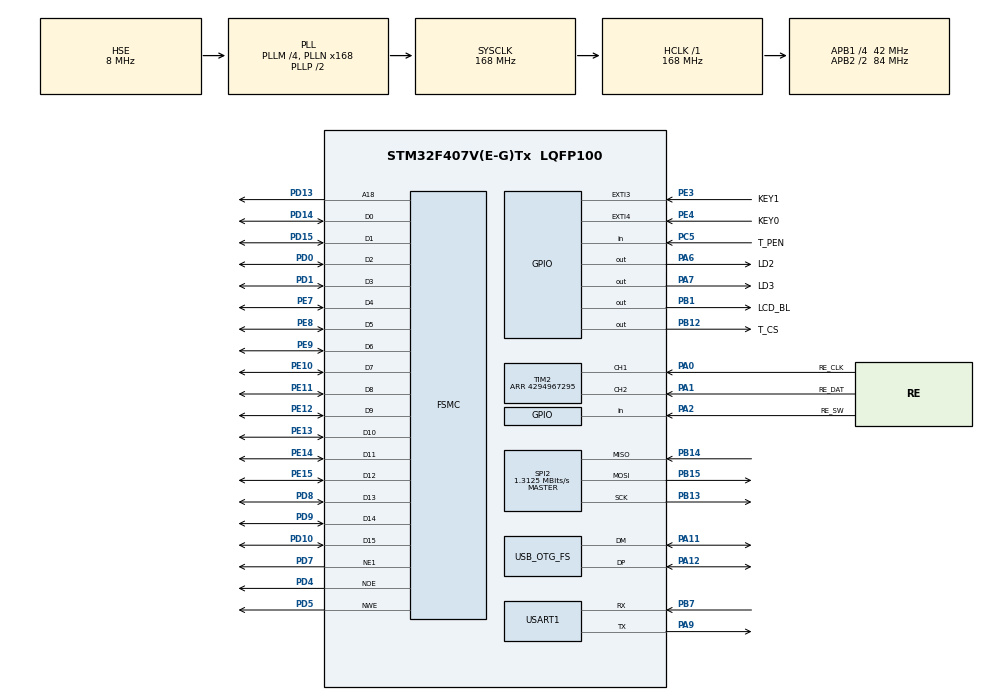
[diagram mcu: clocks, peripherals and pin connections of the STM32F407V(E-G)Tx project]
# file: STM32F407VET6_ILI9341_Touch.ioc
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FSMC.AddressSetupTime1=1
FSMC.BusTurnAroundDuration1=0
FSMC.DataSetupTime1=5
FSMC.ExtendedMode1=FSMC_EXTENDED_MODE_DISABLE
Mcu.Family=STM32F4
Mcu.Name=STM32F407V(E-G)Tx
Mcu.Package=LQFP100
NVIC.EXTI3_IRQn=true\:0\:0\:false\:false\:true\:true\:true\:true
NVIC.EXTI4_IRQn=true\:0\:0\:false\:false\:true\:true\:true\:true
NVIC.OTG_FS_IRQn=true\:0\:0\:false\:false\:true\:false\:true\:true
NVIC.PriorityGroup=NVIC_PRIORITYGROUP_4
NVIC.TIM2_IRQn=true\:0\:0\:false\:false\:true\:true\:true\:true
NVIC.TIM7_IRQn=true\:0\:0\:false\:false\:true\:true\:true\:true
PA0-WKUP.GPIO_Label=RE_CLK
PA0-WKUP.Signal=S_TIM2_CH1_ETR
PA1.GPIO_Label=RE_DAT
PA1.Signal=S_TIM2_CH2
PA11.Mode=Device_Only
PA11.Signal=USB_OTG_FS_DM
PA12.Mode=Device_Only
PA12.Signal=USB_OTG_FS_DP
PA13.Mode=Serial_Wire
PA13.Signal=SYS_JTMS-SWDIO
PA14.Mode=Serial_Wire
PA14.Signal=SYS_JTCK-SWCLK
PA2.GPIO_Label=RE_SW
PA2.Signal=GPIO_Input
PA6.GPIO_Label=LD2
PA6.PinState=GPIO_PIN_SET
PA6.Signal=GPIO_Output
PA7.GPIO_Label=LD3
PA7.PinState=GPIO_PIN_SET
PA7.Signal=GPIO_Output
PA9.Mode=Asynchronous
PA9.Signal=USART1_TX
PB1.GPIO_Label=LCD_BL
PB1.Signal=GPIO_Output
PB12.GPIO_Label=T_CS
PB12.GPIO_PuPd=GPIO_PULLUP
PB12.PinState=GPIO_PIN_SET
PB12.Signal=GPIO_Output
PB13.Mode=Full_Duplex_Master
PB13.Signal=SPI2_SCK
PB14.Mode=Full_Duplex_Master
PB14.Signal=SPI2_MISO
PB15.Mode=Full_Duplex_Master
PB15.Signal=SPI2_MOSI
PB7.Mode=Asynchronous
PB7.Signal=USART1_RX
PC14-OSC32_IN.Mode=LSE-External-Oscillator
PC14-OSC32_IN.Signal=RCC_OSC32_IN
PC15-OSC32_OUT.Mode=LSE-External-Oscillator
PC15-OSC32_OUT.Signal=RCC_OSC32_OUT
PC5.GPIO_Label=T_PEN
PC5.GPIO_PuPd=GPIO_PULLUP
PC5.Signal=GPIO_Input
PD0.Mode=16b-d1
PD0.Signal=FSMC_D2
PD1.Mode=16b-d1
PD1.Signal=FSMC_D3
PD10.Mode=16b-d1
PD10.Signal=FSMC_D15
PD13.Mode=A18_1
PD13.Signal=FSMC_A18
PD14.Mode=16b-d1
PD14.Signal=FSMC_D0
PD15.Mode=16b-d1
PD15.Signal=FSMC_D1
PD4.Mode=Lcd1
PD4.Signal=FSMC_NOE
PD5.Mode=Lcd1
PD5.Signal=FSMC_NWE
PD7.Mode=NorPsramChipSelect1_1
PD7.Signal=FSMC_NE1
PD8.Mode=16b-d1
PD8.Signal=FSMC_D13
PD9.Mode=16b-d1
PD9.Signal=FSMC_D14
PE10.Mode=16b-d1
PE10.Signal=FSMC_D7
PE11.Mode=16b-d1
PE11.Signal=FSMC_D8
PE12.Mode=16b-d1
PE12.Signal=FSMC_D9
PE13.Mode=16b-d1
PE13.Signal=FSMC_D10
PE14.Mode=16b-d1
PE14.Signal=FSMC_D11
PE15.Mode=16b-d1
PE15.Signal=FSMC_D12
PE3.GPIO_Label=KEY1
PE3.GPIO_ModeDefaultEXTI=GPIO_MODE_IT_FALLING
PE3.GPIO_PuPd=GPIO_PULLUP
PE3.Signal=GPXTI3
PE4.GPIO_Label=KEY0
PE4.GPIO_ModeDefaultEXTI=GPIO_MODE_IT_FALLING
PE4.GPIO_PuPd=GPIO_PULLUP
PE4.Signal=GPXTI4
PE7.Mode=16b-d1
PE7.Signal=FSMC_D4
PE8.Mode=16b-d1
PE8.Signal=FSMC_D5
PE9.Mode=16b-d1
PE9.Signal=FSMC_D6
PH0-OSC_IN.Mode=HSE-External-Oscillator
PH0-OSC_IN.Signal=RCC_OSC_IN
PH1-OSC_OUT.Mode=HSE-External-Oscillator
PH1-OSC_OUT.Signal=RCC_OSC_OUT
ProjectManager.HeapSize=0x200
ProjectManager.StackSize=0x400
ProjectManager.TargetToolchain=STM32CubeIDE
RCC.48MHZClocksFreq_Value=48000000
RCC.AHBFreq_Value=168000000
RCC.APB1CLKDivider=RCC_HCLK_DIV4
RCC.APB1Freq_Value=42000000
RCC.APB1TimFreq_Value=84000000
RCC.APB2CLKDivider=RCC_HCLK_DIV2
RCC.APB2Freq_Value=84000000
RCC.APB2TimFreq_Value=168000000
RCC.CortexFreq_Value=21000000
RCC.Cortex_Div=SYSTICK_CLKSOURCE_HCLK_DIV8
RCC.HCLKFreq_Value=168000000
RCC.HSE_VALUE=8000000
RCC.HSI_VALUE=16000000
RCC.PLLM=4
RCC.PLLN=168
RCC.PLLQ=7
RCC.RCC_RTC_Clock_Source=RCC_RTCCLKSOURCE_LSE
RCC.RCC_RTC_Clock_SourceVirtual=RCC_RTCCLKSOURCE_LSE
RCC.SYSCLKFreq_VALUE=168000000
RCC.SYSCLKSource=RCC_SYSCLKSOURCE_PLLCLK
RCC.VCOOutputFreq_Value=336000000
SH.S_TIM2_CH1_ETR.0=TIM2_CH1,Encoder_Interface
SH.S_TIM2_CH2.0=TIM2_CH2,Encoder_Interface
SPI2.BaudRatePrescaler=SPI_BAUDRATEPRESCALER_32
SPI2.CalculateBaudRate=1.3125 MBits/s
SPI2.Direction=SPI_DIRECTION_2LINES
SPI2.Mode=SPI_MODE_MASTER
SPI2.VirtualType=VM_MASTER
STMicroelectronics.X-CUBE-TOUCHGFX.4.22.1.ApplicationCcGraphicsJjApplication=TouchGFXOoGenerator
STMicroelectronics.X-CUBE-TOUCHGFX.4.22.1.tgfx_block_size=1920
STMicroelectronics.X-CUBE-TOUCHGFX.4.22.1.tgfx_buffering_strategy=Partial
STMicroelectronics.X-CUBE-TOUCHGFX.4.22.1.tgfx_custom_height=320
STMicroelectronics.X-CUBE-TOUCHGFX.4.22.1.tgfx_custom_width=240
STMicroelectronics.X-CUBE-TOUCHGFX.4.22.1.tgfx_display_interface=disp_fmc
STMicroelectronics.X-CUBE-TOUCHGFX.4.22.1.tgfx_number_of_blocks=5
STMicroelectronics.X-CUBE-TOUCHGFX.4.22.1_IsPackSelfContextualization=true
TIM2.ClockDivision=TIM_CLOCKDIVISION_DIV1
TIM2.EncoderMode=TIM_ENCODERMODE_TI12
TIM2.IC1Polarity=TIM_ICPOLARITY_RISING
TIM2.IC1Prescaler=TIM_ICPSC_DIV1
TIM2.IC2Polarity=TIM_ICPOLARITY_RISING
TIM2.IC2Prescaler=TIM_ICPSC_DIV1
TIM2.Period=4294967295
TIM7.Period=29999
TIM7.Prescaler=83
USART1.VirtualMode=VM_ASYNC
USB_DEVICE.APP_RX_DATA_SIZE-CDC_FS=512
USB_DEVICE.APP_TX_DATA_SIZE-CDC_FS=512
USB_DEVICE.CLASS_NAME_FS=CDC
USB_DEVICE.VirtualMode-CDC_FS=Cdc
USB_DEVICE.VirtualModeFS=Cdc_FS
USB_OTG_FS.VirtualMode=Device_Only
VP_CRC_VS_CRC.Mode=CRC_Activate
VP_STMicroelectronics.X-CUBE-TOUCHGFX_VS_GraphicsJjApplication_4.22.1.Mode=GraphicsJjApplication
VP_TIM7_VS_ClockSourceINT.Mode=Enable_Timer
VP_USB_DEVICE_VS_USB_DEVICE_CDC_FS.Mode=CDC_FS
board=custom

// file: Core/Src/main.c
/* USER CODE BEGIN Header */
/**
  ******************************************************************************
  * @file           : main.c
  * @brief          : Main program body
  ******************************************************************************
  * @attention
  *
  * Copyright (c) 2023 STMicroelectronics.
  * All rights reserved.
  *
  * This software is licensed under terms that can be found in the LICENSE file
  * in the root directory of this software component.
  * If no LICENSE file comes with this software, it is provided AS-IS.
  *
  ******************************************************************************
  */
/* USER CODE END Header */
#include "main.h"
#include "crc.h"
#include "spi.h"
#include "tim.h"
#include "usart.h"
#include "usb_device.h"
#include "gpio.h"
#include "fsmc.h"
#include "app_touchgfx.h"

/* USER CODE BEGIN Includes */
#include <stdio.h>
#include "ili9341_simple.h"
#include "TouchGFX_DataTransfer.h"
#include "usbd_cdc_if.h"
/* USER CODE END Includes */

/* USER CODE BEGIN PTD */
extern uint8_t CDC_Transmit_FS(uint8_t* Buf, uint16_t Len);
/* USER CODE END PTD */

/* USER CODE BEGIN PV */
uint8_t flagOnePerSecond = 0;
__IO uint8_t userButtonState = 255;
/* USER CODE END PV */

void SystemClock_Config(void);
/* USER CODE BEGIN PFP */
//RTC_TimeTypeDef /*ShowRTC_Calendar*/(void);
void SetTime(uint8_t hours, uint8_t minutes, uint8_t seconds);

uint8_t usb_print(char * buff, uint16_t len);

/* USER CODE END PFP */

/* USER CODE BEGIN 0 */

uint32_t tim2_cnt=0;
volatile uint32_t fut=0;
void HAL_TIM_IC_CaptureCallback(TIM_HandleTypeDef *htim)
{

	if (htim->Instance == TIM2)
	{
//		HAL_GPIO_TogglePin(LD3_GPIO_Port, LD3_Pin);
		fut++;

	}

//	tim2_cnt=__HAL_TIM_GET_COUNTER(htim);
//	HAL_GPIO_TogglePin(LD3_GPIO_Port, LD3_Pin);
//	tim2_cnt=htim2.Instance->CNT;
}

int _write(int file, char *ptr, int len)
{

	HAL_UART_Transmit(&huart1, (uint8_t *) ptr, len, HAL_MAX_DELAY);
//	CDC_Transmit_FS((uint8_t *) ptr, len);

	return len;
}
/* USER CODE END 0 */

int main(void)
{

  /* MCU Configuration--------------------------------------------------------*/

  /* Reset of all peripherals, Initializes the Flash interface and the Systick. */
  HAL_Init();

  /* Configure the system clock */
  SystemClock_Config();

  /* Initialize all configured peripherals */
  MX_GPIO_Init();
  MX_FSMC_Init();
  MX_USART1_UART_Init();
  MX_CRC_Init();
  MX_TIM7_Init();
  MX_SPI2_Init();
  MX_TIM2_Init();
  MX_USB_DEVICE_Init();
  MX_TouchGFX_Init();
  /* USER CODE BEGIN 2 */

  HAL_TIM_Encoder_Start(&htim2, TIM_CHANNEL_ALL);

  //HAL_Delay(20000);
//  printf("\x1b[2J\x1b[;H");
//  printf("*-------------------------*\r\n");
//  printf("* Touch GFX! *\r\n");
//  printf("*-------------------------*\r\n");
  HAL_TIM_Base_Start_IT(&htim7);
  lcdBacklightOn();
  lcdInit();
  htim2.Instance->CNT=0;

  uint8_t futai[13];
//    CDC_Transmit_FS(futai, 13u);
//    usb_print(futai,13);
  /* USER CODE END 2 */

  /* Infinite loop */
  /* USER CODE BEGIN WHILE */
    static uint16_t tick=0;
  while (1)
  {
//	  tim2_cnt=__HAL_TIM_GET_COUNTER(&htim2);
	  tim2_cnt=htim2.Instance->CNT/4;

	  if (tick++ >= 1000 )
	  	{
//		  usb_print(futai,13);
		  sprintf(futai, "%d\n\r", tick);
//		  CDC_Transmit_FS(futai, 13u);
		  tick=0;
	  	}

    /* USER CODE END WHILE */

  MX_TouchGFX_Process();
  }
}

void SystemClock_Config(void)
{
  RCC_OscInitTypeDef RCC_OscInitStruct = {0};
  RCC_ClkInitTypeDef RCC_ClkInitStruct = {0};

  /** Configure the main internal regulator output voltage
  */
  __HAL_RCC_PWR_CLK_ENABLE();
  __HAL_PWR_VOLTAGESCALING_CONFIG(PWR_REGULATOR_VOLTAGE_SCALE1);

  /** Initializes the RCC Oscillators according to the specified parameters
  * in the RCC_OscInitTypeDef structure.
  */
  RCC_OscInitStruct.OscillatorType = RCC_OSCILLATORTYPE_HSE;
  RCC_OscInitStruct.HSEState = RCC_HSE_ON;
  RCC_OscInitStruct.PLL.PLLState = RCC_PLL_ON;
  RCC_OscInitStruct.PLL.PLLSource = RCC_PLLSOURCE_HSE;
  RCC_OscInitStruct.PLL.PLLM = 4;
  RCC_OscInitStruct.PLL.PLLN = 168;
  RCC_OscInitStruct.PLL.PLLP = RCC_PLLP_DIV2;
  RCC_OscInitStruct.PLL.PLLQ = 7;
  if (HAL_RCC_OscConfig(&RCC_OscInitStruct) != HAL_OK)
  {
    Error_Handler();
  }

  /** Initializes the CPU, AHB and APB buses clocks
  */
  RCC_ClkInitStruct.ClockType = RCC_CLOCKTYPE_HCLK|RCC_CLOCKTYPE_SYSCLK
                              |RCC_CLOCKTYPE_PCLK1|RCC_CLOCKTYPE_PCLK2;
  RCC_ClkInitStruct.SYSCLKSource = RCC_SYSCLKSOURCE_PLLCLK;
  RCC_ClkInitStruct.AHBCLKDivider = RCC_SYSCLK_DIV1;
  RCC_ClkInitStruct.APB1CLKDivider = RCC_HCLK_DIV4;
  RCC_ClkInitStruct.APB2CLKDivider = RCC_HCLK_DIV2;

  if (HAL_RCC_ClockConfig(&RCC_ClkInitStruct, FLASH_LATENCY_5) != HAL_OK)
  {
    Error_Handler();
  }
}

/* USER CODE BEGIN 4 */

uint8_t usb_print(char * buff, uint16_t len)
{
//	CDC_Transmit_FS((uint8_t *) buff, len);
	return len;
}

/*void SetTime(uint8_t hours, uint8_t minutes, uint8_t seconds)
{
	RTC_TimeTypeDef sTime = {0};
	* Initialize RTC and set the Time and Date
	sTime.Hours = hours;
	sTime.Minutes = minutes;
	sTime.Seconds = seconds;
	if (HAL_RTC_SetTime(&hrtc, &sTime, RTC_FORMAT_BIN) != HAL_OK)
	{
		Error_Handler();
	}
	HAL_RTCEx_BKUPWrite(&hrtc, RTC_BKP_DR1, MAGIC_NUMBER);
}

RTC_TimeTypeDef ShowRTC_Calendar(void)
{
	RTC_TimeTypeDef sTime = {0};
	RTC_DateTypeDef sDate = {0};
	HAL_RTC_GetTime(&hrtc, &sTime, RTC_FORMAT_BIN);
	HAL_RTC_GetDate(&hrtc, &sDate, RTC_FORMAT_BIN);
	printf("Data: %.2d-%.2d-%.2d-%.2d\r\n", sDate.Date, sDate.Month, sDate.Year, sDate.WeekDay);
	printf("Time: %.2d:%.2d:%.2d\r\n", sTime.Hours, sTime.Minutes, sTime.Seconds);
	printf("\x1b[1F");
	printf("\x1b[1F");
	return sTime;
}*/

/*void HAL_RTC_AlarmAEventCallback(RTC_HandleTypeDef *hrtc)
{
	if(hrtc->Instance == RTC)
	{
		flagOnePerSecond = 1;
	}
}*/

void HAL_TIM_PeriodElapsedCallback(TIM_HandleTypeDef *htim)
{
	if (htim->Instance == TIM7)
	{
		touchgfxSignalVSync();
	}

}

void HAL_GPIO_EXTI_Callback(uint16_t GPIO_Pin)
{
	if (GPIO_Pin == KEY0_Pin)
	{
		userButtonState = 0;
		printf("KEY0 is pressed!\r\n");
		printf("\x1b[1F");
	}
	else if (GPIO_Pin == KEY1_Pin)
	{
		userButtonState = 1;
		printf("KEY1 is pressed!\r\n");
		printf("\x1b[1F");
	}
	else
	{
		__NOP();
	}
}
/* USER CODE END 4 */

void Error_Handler(void)
{
  __disable_irq();
  while (1)
  {
  }
}
